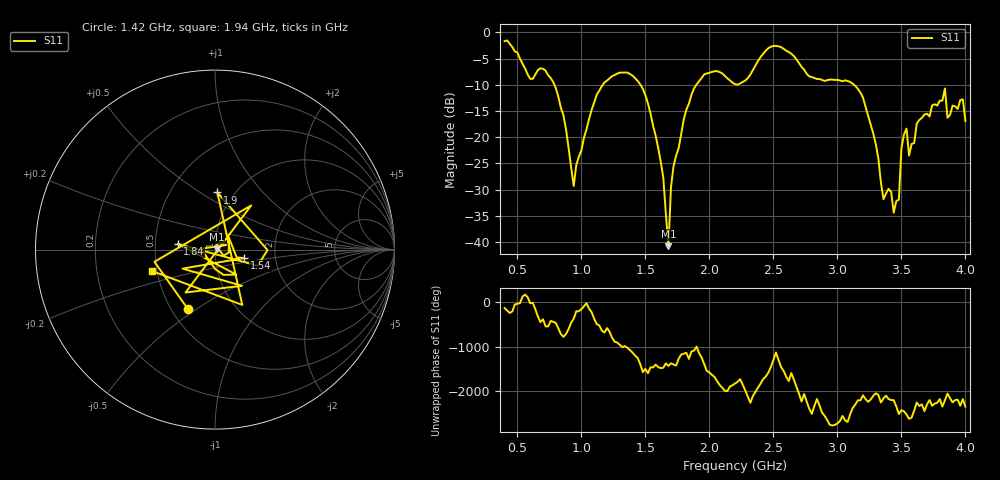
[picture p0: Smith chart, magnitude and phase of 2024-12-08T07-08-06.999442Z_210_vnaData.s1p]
!Created with skrf (http://scikit-rf.org).
# Hz S RI R 50.0
!freq ReS11 ImS11
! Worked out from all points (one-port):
!   181 points, 400 MHz to 4 GHz, reference 50 ohm
!   lowest |S11| = -40.8 dB at 1.68 GHz (marker M1), VSWR 1.02, Z = 50.9 + j0.229 ohm
!   |S11| at or under -10 dB: 788.9 MHz to 1.167 GHz (377.9 MHz wide, 38.7 % of centre); 1.462 GHz to 1.898 GHz (436.4 MHz wide, 26 % of centre); 3.13 GHz to end of sweep
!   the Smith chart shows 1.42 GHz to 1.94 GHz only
!   S11 on the Smith chart (normalised r, x): 1.42 GHz: 0.61, -0.46; 1.54 GHz: 1.38, -0.13; 1.84 GHz: 0.66, +0.04; 1.9 GHz: 0.84, +0.59; 1.94 GHz: 0.47, -0.13
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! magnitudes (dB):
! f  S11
! 400 MHz  -1.7
! 720 MHz  -7.3
! 860 MHz  -15.8
! 940 MHz  -29.3
! 1.12 GHz  -11.9
! 1.3 GHz  -7.7
! 1.42 GHz  -8.8
! 1.54 GHz  -15.5
! 1.64 GHz  -27.8
! 1.68 GHz  -40.8
! 1.7 GHz  -29.5
! 1.76 GHz  -22.1
! 1.84 GHz  -13.6
! 1.9 GHz  -9.9
! 1.94 GHz  -8.6
! 2.2 GHz  -9.9
! 2.66 GHz  -4.5
! 3.1 GHz  -9.5
! 3.2 GHz  -12.4
! 3.36 GHz  -31.8
! 3.44 GHz  -34.4
! 3.48 GHz  -31.9
! 3.52 GHz  -19.5
! 3.56 GHz  -23.5
! 3.84 GHz  -10.7
! 3.86 GHz  -16.3
! 3.98 GHz  -12.8
! 4 GHz  -16.9
